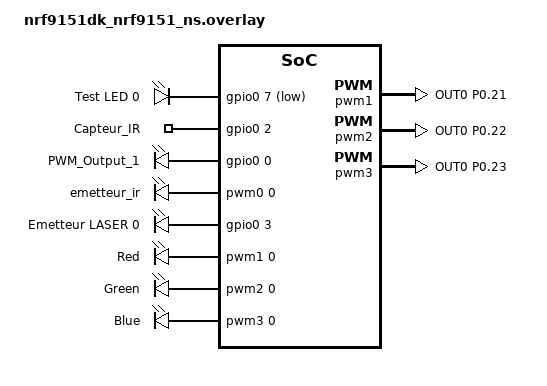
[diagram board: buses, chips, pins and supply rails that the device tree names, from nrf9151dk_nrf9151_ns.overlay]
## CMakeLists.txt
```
cmake_minimum_required(VERSION 3.20.0)
find_package(Zephyr REQUIRED HINTS $ENV{ZEPHYR_BASE})

project(App_Carte)


target_sources(app PRIVATE src/main.c)
target_sources(app PRIVATE src/capteurs_Tir.c)
target_sources(app PRIVATE ../Lib/NEC/NEC.c)
target_sources(app PRIVATE src/LTE-M.c)


set(gen_dir ${ZEPHYR_BINARY_DIR}/include/generated/)

generate_inc_file_for_target(
    app
    src/https-cert.der
    ${gen_dir}/https-cert.der.inc
    )
```

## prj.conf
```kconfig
### CAPTEURS & TIR MODULE CONFIGURATION ###

# Configuration for GPIO, SPI, and PWM
CONFIG_GPIO=y
CONFIG_GPIO_ENABLE_DISABLE_INTERRUPT=y

CONFIG_PWM=y

# Configuration for Logging
CONFIG_LOG=y
CONFIG_LOG_DEFAULT_LEVEL=3
CONFIG_LOG_PROCESS_THREAD_STACK_SIZE=4096
CONFIG_LOG_PROCESS_THREAD=y

# Console configuration (for Logging output)
CONFIG_USE_SEGGER_RTT=n
CONFIG_LOG_BACKEND_RTT=n
CONFIG_RTT_CONSOLE=y
CONFIG_CONSOLE=y
CONFIG_UART_CONSOLE=y
CONFIG_LOG_BACKEND_UART=y


### LTE-M MODULE CONFIGURATION ###

# General config
CONFIG_MAIN_STACK_SIZE=4096
CONFIG_SYSTEM_WORKQUEUE_STACK_SIZE=4096

# Networking config
CONFIG_NETWORKING=y
CONFIG_NET_IPV4=y
CONFIG_NET_IPV6=y
CONFIG_NET_TCP=y
CONFIG_NET_SHELL=y

#Sockets
CONFIG_NET_SOCKETS=y
CONFIG_ZVFS_POLL_MAX=4
CONFIG_POSIX_API=y

# Network driver config
CONFIG_TEST_RANDOM_GENERATOR=y

# Network buffers
CONFIG_NET_PKT_RX_COUNT=16
CONFIG_NET_PKT_TX_COUNT=16
CONFIG_NET_BUF_RX_COUNT=128
CONFIG_NET_BUF_TX_COUNT=128
CONFIG_NET_CONTEXT_NET_PKT_POOL=y

# Network address config
CONFIG_NET_CONFIG_SETTINGS=y
CONFIG_NET_CONFIG_NEED_IPV4=y
CONFIG_NET_CONFIG_NEED_IPV6=y
CONFIG_NET_CONFIG_MY_IPV4_ADDR="192.0.2.1"
CONFIG_NET_CONFIG_MY_IPV4_GW="192.0.2.2"

# Address of HTTP IPv4 server
CONFIG_NET_CONFIG_PEER_IPV4_ADDR="192.0.2.2"
CONFIG_NET_CONFIG_MY_IPV6_ADDR="2001:db8::1"

# Address of HTTP IPv6 server
CONFIG_NET_CONFIG_PEER_IPV6_ADDR="2001:db8::2"

# HTTP
CONFIG_HTTP_CLIENT=y

# Network debug config
#CONFIG_LOG=y ## already defined above
CONFIG_NET_LOG=y
CONFIG_NET_SOCKETS_LOG_LEVEL_DBG=n
CONFIG_NET_HTTP_LOG_LEVEL_DBG=n
CONFIG_NET_IPV6_LOG_LEVEL_DBG=n
CONFIG_NET_IPV6_ND_LOG_LEVEL_DBG=n
CONFIG_LTE_LINK_CONTROL_LOG_LEVEL_DBG=y
CONFIG_NRF_MODEM_LIB_LOG_LEVEL_DBG=y
CONFIG_NRF_MODEM_LIB_TRACE=y

# LTEM
CONFIG_LTE_LINK_CONTROL=y
CONFIG_LTE_NETWORK_MODE_LTE_M=y

# Modem
CONFIG_MODEM=y
CONFIG_NRF_MODEM_LIB=y
CONFIG_MODEM_ANTENNA=n

CONFIG_BUILD_WITH_TFM=y
CONFIG_TRUSTED_EXECUTION_NONSECURE=y 

### SUPLEMENTS ###

CONFIG_THREAD_NAME=y
```

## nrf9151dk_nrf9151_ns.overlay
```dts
// To get started, press Ctrl+Space to bring up the completion menu and view the available nodes.

// You can also use the buttons in the sidebar to perform actions on nodes.
// Actions currently available include:

// * Enabling / disabling the node
// * Adding the bus to a bus
// * Removing the node
// * Connecting ADC channels

// For more help, browse the DeviceTree documentation at https://docs.zephyrproject.org/latest/guides/dts/index.html
// You can also visit the nRF DeviceTree extension documentation at https://docs.nordicsemi.com/bundle/nrf-connect-vscode/page/guides/ncs_configure_app.html#devicetree-support-in-the-extension

// To get started, press Ctrl+Space to bring up the completion menu and view the available nodes.

// You can also use the buttons in the sidebar to perform actions on nodes.
// Actions currently available include:

// * Enabling / disabling the node
// * Adding the bus to a bus
// * Removing the node
// * Connecting ADC channels

// For more help, browse the DeviceTree documentation at https://docs.zephyrproject.org/latest/guides/dts/index.html
// You can also visit the nRF DeviceTree extension documentation at https://docs.nordicsemi.com/bundle/nrf-connect-vscode/page/guides/ncs_configure_app.html#devicetree-support-in-the-extension

/{
    test_leds{
        compatible = "gpio-leds";

        led_t_0: led_test_0 {
            
            gpios = <&gpio0 7 GPIO_ACTIVE_LOW>;
            label = "Test LED 0";
            status = "okay";
        };
    };

    capteurs {
        compatible = "gpio-keys";

        capteur_ir: capteur_ir {
            
            gpios = <&gpio0 2 (GPIO_PULL_DOWN | GPIO_ACTIVE_HIGH)>;
            label = "Capteur_IR";
        }; 
        status = "okay";

    };

    PWM_output_GPIO{
        compatible = "gpio-leds";

        pwm_out0: pwm_output_0 {

        gpios = <&gpio0 0 GPIO_ACTIVE_HIGH>;
        label = "PWM_Output_1";

        };
        status = "okay";
        
    };

    emetteurs_IR {
        compatible = "pwm-leds";

        emetteur_ir: emetteur_ir{
            
            pwms = <&pwm0 0 PWM_MSEC(20) PWM_POLARITY_NORMAL>;
            status = "okay";
        };

        status = "okay";
    };

    emetteurs_LASER {
        compatible =  "gpio-leds";

        laser0: laser_0 {

            gpios = <&gpio0 3 GPIO_ACTIVE_HIGH>;
            label = "Emetteur LASER 0";
            status = "okay";
        };

        status = "okay";
    };

    pwmleds_rgb{
        compatible = "pwm-leds";

        pwm_led_r: pwm_led_r {
            pwms = <&pwm1 0 PWM_MSEC(2) PWM_POLARITY_NORMAL>;
            label = "Red";
            status = "okay";
        };

        pwm_led_g: pwm_led_g {
            pwms = <&pwm2 0 PWM_MSEC(2) PWM_POLARITY_NORMAL>;
            label = "Green";
            status = "okay";
        };

        pwm_led_b: pwm_led_b {
            pwms = <&pwm3 0 PWM_MSEC(2) PWM_POLARITY_NORMAL>;
            label = "Blue";
            status = "okay";
        };
    };

};



&pwm1 {
    status = "okay";
    pinctrl-0 = <&pwm1_default>;
    pinctrl-1 = <&pwm1_sleep>;
    pinctrl-names = "default", "sleep";
};

&pwm2 {
    status = "okay";
    pinctrl-0 = <&pwm2_default>;
    pinctrl-1 = <&pwm2_sleep>;
    pinctrl-names = "default", "sleep";
};

&pwm3 {
    status = "okay";
    pinctrl-0 = <&pwm3_default>;
    pinctrl-1 = <&pwm3_sleep>;
    pinctrl-names = "default", "sleep";
};

// ----- PINCTROL FOR PWMS ----- //
&pinctrl {

    pwm1_default: pwm1_default {
        group1{
            psels = <NRF_PSEL(PWM_OUT0, 0, 21)>;
            nordic,invert;
        };
    };
    pwm1_sleep: pwm1_sleep {
        group1{
            psels = <NRF_PSEL(PWM_OUT0, 0, 21)>;
            low-power-enable;
        };
    };

    pwm2_default: pwm2_default {
        group1{
            psels = <NRF_PSEL(PWM_OUT0, 0, 22)>;
            nordic,invert;
        };
    };
    pwm2_sleep: pwm2_sleep {
        group1{
            psels = <NRF_PSEL(PWM_OUT0, 0, 22)>;
            low-power-enable;
        };
    };

    pwm3_default: pwm3_default {
        group1{
            psels = <NRF_PSEL(PWM_OUT0, 0, 23)>;
            nordic,invert;
        };
    };
    pwm3_sleep: pwm3_sleep {
        group1{
            psels = <NRF_PSEL(PWM_OUT0, 0, 23)>;
            low-power-enable;
        };
    };
};
```

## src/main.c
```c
#include <zephyr/kernel.h>
#include <zephyr/logging/log.h>
#include <zephyr/devicetree.h>
#include <zephyr/drivers/gpio.h>
#include <zephyr/drivers/pwm.h>
#include "capteurs_Tir.h"
#include "LTE-M.h"

#define RGB_4P_R DT_NODELABEL(pwm_led_r)
#define RGB_4P_G DT_NODELABEL(pwm_led_g)
#define RGB_4P_B DT_NODELABEL(pwm_led_b)

#define TEST_LED_NODE DT_NODELABEL(led_t_0)

static const struct pwm_dt_spec led_RGB_R = PWM_DT_SPEC_GET(RGB_4P_R);
static const struct pwm_dt_spec led_RGB_G = PWM_DT_SPEC_GET(RGB_4P_G);
static const struct pwm_dt_spec led_RGB_B = PWM_DT_SPEC_GET(RGB_4P_B);
static const struct gpio_dt_spec test_LED = GPIO_DT_SPEC_GET(TEST_LED_NODE, gpios);


LOG_MODULE_REGISTER(main, LOG_LEVEL_DBG);

void lED_react(void)
{
        gpio_pin_set_dt(&test_LED, 0);

        k_sleep(K_MSEC(3000));

        gpio_pin_set_dt(&test_LED, 1);
}       


int main(void)
{

        gpio_pin_configure_dt(&test_LED, GPIO_OUTPUT_INACTIVE);


        init_capteursTir_module();
        init_LTE();

        LOG_DBG("All init functions done");
        k_sleep(K_SECONDS(1));
        LOG_DBG("Starting main loop...");

        gpio_pin_set_dt(&test_LED, 1);

        unsigned long reicv_data_value;

        while (1)
        {
                if (get_isDataDecoded())
                {
                        get_decoded_results_value(&reicv_data_value);
                        if (reicv_data_value != 0)
                        {
                                LOG_DBG("Decoded Result: %08lX \n", reicv_data_value);
                                send_hit_info(reicv_data_value);
                                reset_decoded_results_status();
                                 lED_react();
                        }
                        else{
                                LOG_ERR("Error empty data received");
                        }

                }

                k_sleep(K_MSEC(100));
        }

        return 0;
}
```

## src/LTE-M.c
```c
/*
 * Program to set up and send HTTP GET and POST requests over LTE-M using Zephyr OS (and nrf9151 DK), by IPv4
 * Greatly inspired by the HTTP_CLIENT sample from nrf connect SDK application
 *
 * This should work if the modem firmware has correctly been flashed with the nrf connect for Desktop programmer,
 * and the IP adress of the server has been properly set in the "connect socket" functions from the "run queries" function.
 * Also be careful that your SD card is active so it can access LTE Network
 *
 * -- Gaël Chauvet - January 2026
 */

#include <zephyr/logging/log.h>
LOG_MODULE_REGISTER(net_http_client_sample, LOG_LEVEL_DBG);

#include <zephyr/net/net_ip.h>
#include <zephyr/net/socket.h>
#include <zephyr/net/tls_credentials.h>
#include <zephyr/net/http/client.h>
#include <modem/lte_lc.h>
#include <modem/modem_info.h>
#include <nrf_modem.h>
#include <modem/nrf_modem_lib.h>

#include "ca_certificate.h"
#include "LTE-M.h"

// DEF of buffer
static uint8_t recv_buf_ipv4[MAX_RECV_BUF_LEN];

// Function to setup a socket connection
static int setup_socket(sa_family_t family, const char *server, int port,
                        int *sock, struct sockaddr *addr, socklen_t addr_len)
{
    const char *family_str = family == AF_INET ? "IPv4" : "IPv6";
    int ret = 0;

    memset(addr, 0, addr_len);

    if (family == AF_INET)
    {
        net_sin(addr)->sin_family = AF_INET;
        net_sin(addr)->sin_port = htons(port);
        inet_pton(family, server, &net_sin(addr)->sin_addr);
    }
    else
    {
        net_sin6(addr)->sin6_family = AF_INET6;
        net_sin6(addr)->sin6_port = htons(port);
        inet_pton(family, server, &net_sin6(addr)->sin6_addr);
    }

    if (IS_ENABLED(CONFIG_NET_SOCKETS_SOCKOPT_TLS))
    {
        sec_tag_t sec_tag_list[] = {
            CA_CERTIFICATE_TAG,
        };

        *sock = socket(family, SOCK_STREAM, IPPROTO_TLS_1_2);
        if (*sock >= 0)
        {
            ret = setsockopt(*sock, SOL_TLS, TLS_SEC_TAG_LIST,
                             sec_tag_list, sizeof(sec_tag_list));
            if (ret < 0)
            {
                LOG_ERR("Failed to set %s secure option (%d)",
                        family_str, -errno);
                ret = -errno;
            }

            ret = setsockopt(*sock, SOL_TLS, TLS_HOSTNAME,
                             TLS_PEER_HOSTNAME,
                             sizeof(TLS_PEER_HOSTNAME));
            if (ret < 0)
            {
                LOG_ERR("Failed to set %s TLS_HOSTNAME "
                        "option (%d)",
                        family_str, -errno);
                ret = -errno;
            }
        }
    }
    else
    {
        *sock = socket(family, SOCK_STREAM, IPPROTO_TCP);
    }

    if (*sock < 0)
    {
        LOG_ERR("Failed to create %s HTTP socket (%d)", family_str,
                -errno);
    }

    return ret;
}

// HTTP response callback function
static int response_cb(struct http_response *rsp,
                       enum http_final_call final_data,
                       void *user_data)
{
    if (final_data == HTTP_DATA_MORE)
    {
        LOG_INF("Partial data received (%zd bytes)", rsp->data_len);
    }
    else if (final_data == HTTP_DATA_FINAL)
    {
        LOG_INF("All the data received (%zd bytes)", rsp->data_len);
    }

    LOG_INF("Response to %s", (const char *)user_data);
    LOG_INF("Response status %s", rsp->http_status);

    return 0;
}

// Function to setup and connect a socket
static int connect_socket(sa_family_t family, const char *server, int port,
                          int *sock, struct sockaddr *addr, socklen_t addr_len)
{
    int ret;

    ret = setup_socket(family, server, port, sock, addr, addr_len);
    if (ret < 0 || *sock < 0)
    {
        return -1;
    }

    ret = connect(*sock, addr, addr_len);
    if (ret < 0)
    {
        LOG_ERR("Cannot connect to %s remote (%d): %s",
                family == AF_INET ? "IPv4" : "IPv6",
                -errno, strerror(errno));
        close(*sock);
        *sock = -1;
        ret = -errno;
    }

    return ret;
}

// LTE Handler function
/* Semaphore used to block the main thread until the link controller has
 * established an LTE connection.
 */
K_SEM_DEFINE(lte_connected, 0, 1);
static void lte_handler(const struct lte_lc_evt *const evt)
{
    switch (evt->type)
    {
    case LTE_LC_EVT_NW_REG_STATUS:
        if ((evt->nw_reg_status != LTE_LC_NW_REG_REGISTERED_HOME) &&
            (evt->nw_reg_status != LTE_LC_NW_REG_REGISTERED_ROAMING))
        {
            break;
        }
        printk("Connected to: %s network\n",
               evt->nw_reg_status == LTE_LC_NW_REG_REGISTERED_HOME ? "home" : "roaming");
        k_sem_give(&lte_connected);
        break;
    case LTE_LC_EVT_RRC_UPDATE:
    case LTE_LC_EVT_CELL_UPDATE:
    case LTE_LC_EVT_LTE_MODE_UPDATE:
    case LTE_LC_EVT_MODEM_EVENT:
        /* Callback events carrying LTE link data */
        break;
    default:
        break;
    }
}

int init_LTE(void)
{
    int ret = 0;

    LOG_INF("Initializing Modem");
    ret = nrf_modem_lib_init();
    if (ret != 0)
    {
        LOG_ERR("Error initializing modem : %d\n", ret);
    }
    else
    {
        LOG_INF("Modem Initialized succesfully");
    }

    LOG_INF("Initializing LTE link...");
    /* Initialize LTE link */
    ret = lte_lc_connect_async(lte_handler);
    if (ret != 0)
    {
        LOG_ERR("Failed to initiate LTE connection: %d", ret);
        return ret;
    }
    else
    {
        LOG_INF("LTE link initialized");
    }
    k_sem_take(&lte_connected, K_FOREVER);

    LOG_INF("LTE ready");

    return 0;
}

int send_hit_info(unsigned long data_tosend)
{
    // initialize variables
    struct sockaddr_in addr4;
    int sock4 = -1;
    int32_t timeout = 3 * MSEC_PER_SEC;
    int ret = 0;
    int port = HTTP_PORT;

    // Create a socket connection to the server
    if (IS_ENABLED(CONFIG_NET_IPV4))
    {
        (void)connect_socket(AF_INET, TARGET_SERVER_ADDR, port,
                             &sock4, (struct sockaddr *)&addr4,
                             sizeof(addr4));
    }

    if (sock4 < 0)
    {
        LOG_ERR("Cannot create HTTP connection. (for POST)");
        return -ECONNABORTED;
    }

    // initialize send HTTP POST request over IPv4
    if (sock4 >= 0 && IS_ENABLED(CONFIG_NET_IPV4))
    {
        struct http_request req;
        char decoded_data_str[9]; // Buffer to hold the hex string representation of the data
        sprintf( decoded_data_str, "%08lX", data_tosend); // Convert unsigned long to hex string

        LOG_DBG("Sending HTTP POST request with data: %s", decoded_data_str);
        
        memset(&req, 0, sizeof(req));

        req.method = HTTP_POST;
        req.url = "/posty";
        req.host = SERVER_ADDR4; 
        req.protocol = "HTTP/1.1";
        req.payload = decoded_data_str;
        req.payload_len = strlen(req.payload);
        req.response = response_cb;
        req.recv_buf = recv_buf_ipv4;
        req.recv_buf_len = sizeof(recv_buf_ipv4);

        ret = http_client_req(sock4, &req, timeout, "IPv4 POST");

        close(sock4);
    }

    sock4 = -1;
    return ret;
}
```

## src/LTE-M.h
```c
#ifndef LTE_M_H
#define LTE_M_H


//define the port for HTTP and HTTPS connections
#define HTTP_PORT 8000
#define HTTPS_PORT 4443

#if defined(CONFIG_NET_CONFIG_PEER_IPV4_ADDR)
#define SERVER_ADDR4 CONFIG_NET_CONFIG_PEER_IPV4_ADDR
#else
#define SERVER_ADDR4 ""
#endif

#define MAX_RECV_BUF_LEN 512

#define TARGET_SERVER_ADDR "51.38.237.79" // replacing SERVER_ADDR4 when sending

int init_LTE(void);
int send_hit_info(unsigned long decoded_data);


#endif // LTE_M_H
```

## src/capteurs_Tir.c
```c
#include <zephyr/kernel.h>
#include <zephyr/logging/log.h>
#include <zephyr/devicetree.h>
#include <zephyr/drivers/gpio.h>
#include <zephyr/drivers/led.h>
#include <zephyr/drivers/pwm.h>

#include "capteurs_Tir.h"
#include "../../Lib/NEC/NEC.h"

// initialize logger
LOG_MODULE_REGISTER(capteur_tir, LOG_LEVEL_DBG);

// ----- GPIO and DEVICES DEFINITIONS FROM NODES ----- //

// Dk LED for debugging emission and reception
static const struct gpio_dt_spec led1 = GPIO_DT_SPEC_GET(LED1_NODE, gpios);
static const struct gpio_dt_spec led2 = GPIO_DT_SPEC_GET(LED2_NODE, gpios);
static const struct gpio_dt_spec led3 = GPIO_DT_SPEC_GET(LED3_NODE, gpios);

// IR receiver node
static const struct gpio_dt_spec irecv = GPIO_DT_SPEC_GET(IR_REICV_NODE, gpios);

// IR and LASER emitter nodes (respectively)
static const struct pwm_dt_spec irmitterPWM_dt = PWM_DT_SPEC_GET(IR_EMIT_NODE);
static const struct gpio_dt_spec lasmitter = GPIO_DT_SPEC_GET(LASER_EMIT_NODE, gpios);

// Switch used as trigger for IR emission
static const struct gpio_dt_spec switch2 = GPIO_DT_SPEC_GET(SW2_NODE, gpios);

// GPIO used as trigger for IR emission
static const struct gpio_dt_spec pwmOut0 = GPIO_DT_SPEC_GET(PWM_NODE, gpios);

// ----- DEFINITION OF WORKQUEUES AND STACK AREAS ----- //

struct k_work_q reicv_work_q;
struct k_work_q emit_work_q;
struct k_work_q decode_work_q;

K_THREAD_STACK_DEFINE(reicv_stack_area, REICV_STACK_SIZE);
K_THREAD_STACK_DEFINE(emit_stack_area, EMIT_STACK_SIZE);
K_THREAD_STACK_DEFINE(decode_stack_area, DECODE_STACK_SIZE);

// ----- DEFINITION OF WORK VARIABLES ----- //

struct k_work lR_IR_Work;
struct k_work emitIR_Work;
struct k_work decodeIR_Work;

struct k_work_delayable lR_IR_DelayableWork;
struct k_work_delayable emitIR_DelayableWork;
struct k_work_delayable decode_IR;

// ----- DEFINITION OF STRUCTURES FOR IR RECEPTION ----- //

irparams_t irParams = {.recvState = STATE_IDLE, .timer = 0, .rawlen = 0};
decoded_result_t decodedResult = {.value = 0, .bits = 0};
unsigned long lastDecodedValue = 0;
bool isDataDecoded = false;

// ----- OTHERS DEFINITIONS ----- //

// init data to send
unsigned long dataToSend = 0xAFAF1234;

// init callback de l'interruption de la gachette
static struct gpio_callback switch2_cb_data;

// ----- GPIO INTERRUPT AND WORKHANDLER FOR IR EMISSION AND RECEPTION ----- //

// ISR that detect when the trigger (button) is pressed
void trigger_pulled(const struct device *dev, struct gpio_callback *cb, uint32_t pins)
{
    LOG_DBG("Switch 2 Pressed");
    k_work_schedule_for_queue(&emit_work_q, &emitIR_DelayableWork, K_MSEC(10));
}

// workhandler that call the listening routine to get raw IR signals
void lR_IR_WorkHandler(struct k_work *work)
{
    uint8_t rawSignal = gpio_pin_get_dt(&irecv);

    // for debug with led
    int val, val2;
    val = rawSignal;
    gpio_pin_set_dt(&led1, val);
    val2 = gpio_pin_get_dt(&pwmOut0);
    gpio_pin_set_dt(&led3, val2);

    // call the listening routine
    lR_IR_Receive(&irParams, rawSignal);

    // reschedule the workhandler
    k_work_reschedule_for_queue(&reicv_work_q, &lR_IR_DelayableWork, K_USEC(TICK_LENGHT));
}

// workhandler that emit IR signals after the trigger was pulled
void emitIR_WorkHandler(struct k_work *work)
{

    gpio_pin_toggle_dt(&led2);
    // dataToSend = 0xABCDEF12;

    while (gpio_pin_get_dt(&switch2) == 1)
    {

        gpio_pin_set_dt(&lasmitter, 1); // turn on laser
        sendNEC(dataToSend);            // example data to send
        // LOG_DBG("TIR");
        gpio_pin_set_dt(&lasmitter, 0); // turn on laser

        k_sleep(K_MSEC(100)); // cooldown
    }

    gpio_pin_toggle_dt(&led2);
}

// workhandler that decode the raw IR signals regularly
void decodeIR_WorkHandler(struct k_work *work)
{

    // decode the received data
    int res = decodeNEC(&irParams, &decodedResult);
    if (res == 0)
    {
        LOG_DBG("Decoded Result: 0x%08lX, bits: %d, res: %d \n", decodedResult.value, decodedResult.bits, res);
        isDataDecoded = true;
        lastDecodedValue = decodedResult.value;
    }
    else
    {
        // LOG_ERR("Decoding failed with res: %d ", res);
        if (res == 2)
        {
            LOG_ERR("(Invalid bit detected)");
        }
        if (res == 1)
        {
            // LOG_ERR("(Invalid start pulse)");
        }
    }

    // reschedule the workhandler
    k_work_reschedule_for_queue(&decode_work_q, &decode_IR, K_MSEC(100));
}

// ----- DEFINITION OF IR EMISSION FUNCTIONS FROM NEC LIBRARY (TO ADAPT TO THE HARDWARE) ----- //

// turns on the PWM for "duration" microseconds
void sendPulse(int duration)
{
    pwm_set_dt(&irmitterPWM_dt, PWM_USEC(28), PWM_USEC(9)); // set duty cycle to 25% 38kHz/4 = 9500Hz
    k_sleep(K_USEC(duration));
}

// turns off the PWM for "duration" microseconds
void sendSpace(int duration)
{
    pwm_set_dt(&irmitterPWM_dt, 0, 0); // turn off PWM
    k_sleep(K_USEC(duration));
}

// ----- INIT OF CAPTEURS & TIR MODULE ----- //

// initializes the "capteurs & tir" module, GPIOS, interrupts and workqueues
int init_capteursTir_module(void)
{
    LOG_DBG("Initializing Capteurs & Tir module...");

    // Initializing Worqueues...
    LOG_DBG("Initializing Worqueues...");
    k_work_queue_init(&reicv_work_q);
    k_work_queue_start(&reicv_work_q, reicv_stack_area, K_THREAD_STACK_SIZEOF(reicv_stack_area), 4, NULL);

    k_work_queue_init(&emit_work_q);
    k_work_queue_start(&emit_work_q, emit_stack_area, K_THREAD_STACK_SIZEOF(emit_stack_area), 5, NULL);

    k_work_queue_init(&decode_work_q);
    k_work_queue_start(&decode_work_q, decode_stack_area, K_THREAD_STACK_SIZEOF(decode_stack_area), 6, NULL);

    // Initializing GPIOs...
    LOG_DBG("Initializing GPIOs...");

    // DK LEDs for DEBUG mostly
    gpio_pin_configure_dt(&led1, GPIO_OUTPUT_INACTIVE);
    gpio_pin_configure_dt(&led2, GPIO_OUTPUT_INACTIVE);
    gpio_pin_configure_dt(&led3, GPIO_OUTPUT_INACTIVE);

    // IR receiver PIN
    gpio_pin_configure_dt(&irecv, GPIO_INPUT);

    // IR transmitter PIN (IR and laser respectiveley)
    gpio_pin_configure_dt(&pwmOut0, GPIO_OUTPUT_INACTIVE);
    gpio_pin_configure_dt(&lasmitter, GPIO_OUTPUT_INACTIVE);

    gpio_pin_configure_dt(&switch2, GPIO_INPUT);

    // Initializing Callbacks and Interrupts for Trigger...
    LOG_DBG("Initializing Callbacks and Interrupts for Trigger...");
    gpio_pin_interrupt_configure_dt(&switch2, GPIO_INT_EDGE_TO_ACTIVE);
    gpio_init_callback(&switch2_cb_data, trigger_pulled, BIT(switch2.pin));
    gpio_add_callback(switch2.port, &switch2_cb_data);

    // Initializing delayable works and starting listening and decoding work to queue
    LOG_DBG("Initializing delayable works and starting listening work to queue...");
    k_work_init_delayable(&lR_IR_DelayableWork, lR_IR_WorkHandler);
    k_work_init_delayable(&emitIR_DelayableWork, emitIR_WorkHandler);
    k_work_init_delayable(&decode_IR, decodeIR_WorkHandler);

    LOG_DBG("Lauching receiver and decoder workhandlers...");
    k_work_schedule_for_queue(&reicv_work_q, &lR_IR_DelayableWork, K_USEC(10));
    k_work_schedule_for_queue(&decode_work_q, &decode_IR, K_MSEC(100));

    LOG_DBG("Capteurs & Tir module initialized.");
    return 0;
}

// ----- OTHER FUNCTIONS ----- //

void get_decoded_results_value(unsigned long *value)
{
    *value = lastDecodedValue;
}

void reset_decoded_results_status(void)
{
    isDataDecoded = false;
}

bool get_isDataDecoded(void)
{
    return isDataDecoded;
}

// ----- END OF FILE ----- //
```

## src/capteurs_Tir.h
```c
#ifndef CAPTEURS_TIR_H

#define CAPTEURS_TIR_H


// ----- NODE DEFINITION FROM DEVICTREE ----- //

// Dk LED  for debugging emission and reception
#define LED1_NODE DT_ALIAS(led1)
#define LED2_NODE DT_ALIAS(led2)
#define LED3_NODE DT_ALIAS(led3)

// IR receiver node
#define IR_REICV_NODE DT_NODELABEL(capteur_ir)

// IR and LASER emitter nodes (respectively)
#define IR_EMIT_NODE DT_NODELABEL(emetteur_ir) 
#define LASER_EMIT_NODE DT_NODELABEL(laser0)

// Switch used as trigger for IR emission
#define SW2_NODE DT_ALIAS(sw3)

// GPIO to send on a LED to debug EMISSION 
#define PWM_NODE DT_NODELABEL(pwm_out0)

// ----- DEFINITION OF MACROS ----- //

//lib const
#define REICV_STACK_SIZE 1024
#define EMIT_STACK_SIZE 1024
#define DECODE_STACK_SIZE 1024

// ----- GPIO INTERRUPT AND WORKHANDLER FOR IR EMISSION AND RECEPTION ----- //

//callback from a GPIO interrupt that detect when the trigger is pulled 
void trigger_pulled(const struct device *dev, struct gpio_callback *cb, uint32_t pins);
// workhandler that call the listening routine to get raw IR signals
void lR_IR_WorkHandler(struct k_work *work);

// workhandler that emit IR signals after the trigger was pulled
void emitIR_WorkHandler(struct k_work *work);

// workhandler that decode the raw IR signals regularly
void decodeIR_WorkHandler(struct k_work *work);

// ----- OTHER FUNCTIONS ----- //

void get_decoded_results_value(unsigned long* value); // structure that holds the decoded IR data

int init_capteursTir_module(void);

bool get_isDataDecoded(void);

void reset_decoded_results_status(void);

#endif // CAPTEURS_TIR_H

#include <zephyr/devicetree.h>
#include <zephyr/drivers/gpio.h>
#include <zephyr/drivers/led.h>
#include <zephyr/drivers/pwm.h>
```
